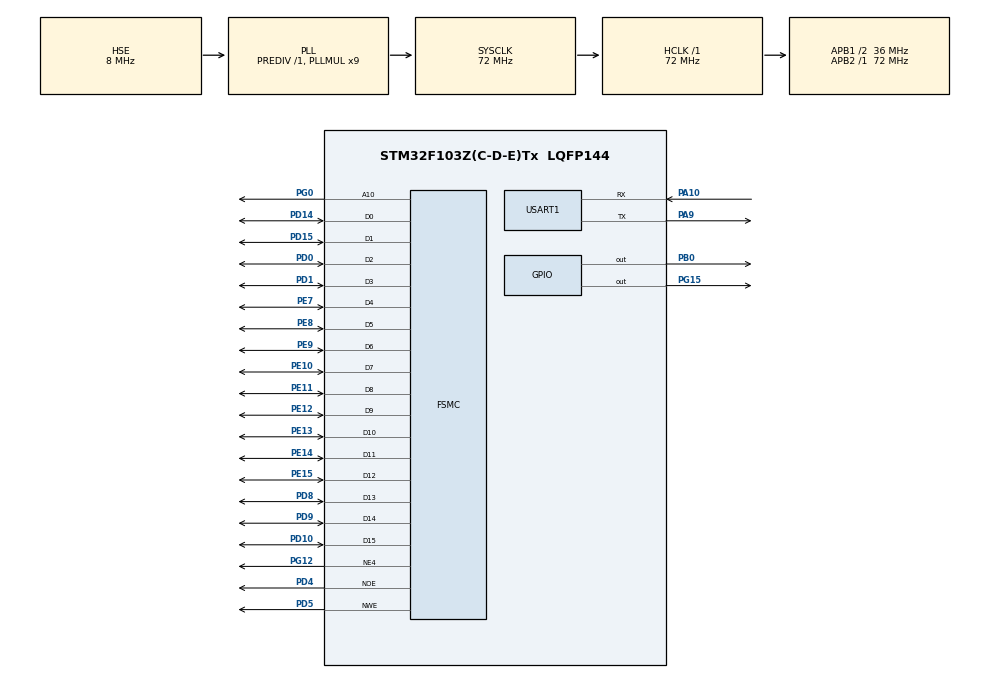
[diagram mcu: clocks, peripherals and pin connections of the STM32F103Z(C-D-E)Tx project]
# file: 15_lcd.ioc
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FSMC.DataSetupTime1=71
Mcu.Family=STM32F1
Mcu.Name=STM32F103Z(C-D-E)Tx
Mcu.Package=LQFP144
NVIC.PriorityGroup=NVIC_PRIORITYGROUP_4
OSC_IN.Mode=HSE-External-Oscillator
OSC_IN.Signal=RCC_OSC_IN
OSC_OUT.Mode=HSE-External-Oscillator
OSC_OUT.Signal=RCC_OSC_OUT
PA10.Mode=Asynchronous
PA10.Signal=USART1_RX
PA13.Mode=Serial_Wire
PA13.Signal=SYS_JTMS-SWDIO
PA14.Mode=Serial_Wire
PA14.Signal=SYS_JTCK-SWCLK
PA9.Mode=Asynchronous
PA9.Signal=USART1_TX
PB0.PinState=GPIO_PIN_RESET
PB0.Signal=GPIO_Output
PC14-OSC32_IN.Mode=LSE-External-Oscillator
PC14-OSC32_IN.Signal=RCC_OSC32_IN
PC15-OSC32_OUT.Mode=LSE-External-Oscillator
PC15-OSC32_OUT.Signal=RCC_OSC32_OUT
PD0.Signal=FSMC_D2_DA2
PD1.Signal=FSMC_D3_DA3
PD10.Signal=FSMC_D15_DA15
PD14.Signal=FSMC_D0_DA0
PD15.Signal=FSMC_D1_DA1
PD4.Signal=FSMC_NOE
PD5.Signal=FSMC_NWE
PD8.Signal=FSMC_D13_DA13
PD9.Signal=FSMC_D14_DA14
PE10.Signal=FSMC_D7_DA7
PE11.Signal=FSMC_D8_DA8
PE12.Signal=FSMC_D9_DA9
PE13.Signal=FSMC_D10_DA10
PE14.Signal=FSMC_D11_DA11
PE15.Signal=FSMC_D12_DA12
PE7.Signal=FSMC_D4_DA4
PE8.Signal=FSMC_D5_DA5
PE9.Signal=FSMC_D6_DA6
PG0.Signal=FSMC_A10
PG12.Mode=NorPsramChipSelect4_1
PG12.Signal=FSMC_NE4
PG15.PinState=GPIO_PIN_SET
PG15.Signal=GPIO_Output
ProjectManager.HeapSize=0x200
ProjectManager.StackSize=0x400
ProjectManager.TargetToolchain=CMake
RCC.AHBFreq_Value=72000000
RCC.APB1CLKDivider=RCC_HCLK_DIV2
RCC.APB1Freq_Value=36000000
RCC.APB1TimFreq_Value=72000000
RCC.APB2Freq_Value=72000000
RCC.APB2TimFreq_Value=72000000
RCC.HCLKFreq_Value=72000000
RCC.PLLMUL=RCC_PLL_MUL9
RCC.PLLSourceVirtual=RCC_PLLSOURCE_HSE
RCC.SYSCLKFreq_VALUE=72000000
RCC.SYSCLKSource=RCC_SYSCLKSOURCE_PLLCLK
RCC.USBFreq_Value=72000000
SH.FSMC_A10.0=FSMC_A10,A10_1
SH.FSMC_D0_DA0.0=FSMC_D0,16b-d1
SH.FSMC_D10_DA10.0=FSMC_D10,16b-d1
SH.FSMC_D11_DA11.0=FSMC_D11,16b-d1
SH.FSMC_D12_DA12.0=FSMC_D12,16b-d1
SH.FSMC_D13_DA13.0=FSMC_D13,16b-d1
SH.FSMC_D14_DA14.0=FSMC_D14,16b-d1
SH.FSMC_D15_DA15.0=FSMC_D15,16b-d1
SH.FSMC_D1_DA1.0=FSMC_D1,16b-d1
SH.FSMC_D2_DA2.0=FSMC_D2,16b-d1
SH.FSMC_D3_DA3.0=FSMC_D3,16b-d1
SH.FSMC_D4_DA4.0=FSMC_D4,16b-d1
SH.FSMC_D5_DA5.0=FSMC_D5,16b-d1
SH.FSMC_D6_DA6.0=FSMC_D6,16b-d1
SH.FSMC_D7_DA7.0=FSMC_D7,16b-d1
SH.FSMC_D8_DA8.0=FSMC_D8,16b-d1
SH.FSMC_D9_DA9.0=FSMC_D9,16b-d1
SH.FSMC_NOE.0=FSMC_NOE,Lcd1
SH.FSMC_NWE.0=FSMC_NWE,Lcd1
USART1.VirtualMode=VM_ASYNC
board=custom

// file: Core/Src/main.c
/* USER CODE BEGIN Header */
/**
  ******************************************************************************
  * @file           : main.c
  * @brief          : Main program body
  ******************************************************************************
  * @attention
  *
  * Copyright (c) 2026 STMicroelectronics.
  * All rights reserved.
  *
  * This software is licensed under terms that can be found in the LICENSE file
  * in the root directory of this software component.
  * If no LICENSE file comes with this software, it is provided AS-IS.
  *
  ******************************************************************************
  */
/* USER CODE END Header */
#include "main.h"
#include "usart.h"
#include "gpio.h"
#include "fsmc.h"

/* USER CODE BEGIN Includes */
#include <stdio.h>

#include "lcd.h"
/* USER CODE END Includes */

void SystemClock_Config(void);

/* USER CODE BEGIN 0 */

// 雷 (32x32 字模, 128 字节)
// ⚠️ 以下数据为占位 (全 0), 需用 PCtoLCD2002 取模软件按下列参数生成后填入:
//    宽 × 高 = 32 × 32, 格式 = C51, 取模 = 阴码 + 纵向 + 列行式 + 字节倒序
const uint8_t font_lei[128] = { 0 };

// 鸣 (32x32, 占位 - 待用取模软件生成)
const uint8_t font_ming[128] = { 0 };

// 北 (32x32, 占位 - 待用取模软件生成)
const uint8_t font_bei[128] = { 0 };

// 落 (32x32, 占位 - 待用取模软件生成)
const uint8_t font_luo[128] = { 0 };

// 师 (32x32, 占位 - 待用取模软件生成)
const uint8_t font_shi[128] = { 0 };

// 门 (32x32, 占位 - 待用取模软件生成)
const uint8_t font_men[128] = { 0 };

/* USER CODE END 0 */

int main(void)
{

  /* MCU Configuration--------------------------------------------------------*/

  /* Reset of all peripherals, Initializes the Flash interface and the Systick. */
  HAL_Init();

  /* Configure the system clock */
  SystemClock_Config();

  /* Initialize all configured peripherals */
  MX_GPIO_Init();
  MX_FSMC_Init();
  MX_USART1_UART_Init();
  /* USER CODE BEGIN 2 */
  LCD_Init();

  uint32_t id = LCD_ReadID();

  printf("LCD ID: 0x%06lx\r\n", id);

  // 欢迎页面 Hello Lcd
  char* vexrune_top = "VEXRUNE.TOP";
  LCD_Write_Fonts(vexrune_top, 2, 12, 0, 0, BLACK);
  LCD_Write_Fonts("LUKE", 3, 4, 0, 40, BLACK);

  // 中文
  LCD_Write_C(font_lei, 4, 12, 80, BLACK);

  /* USER CODE END 2 */

  /* Infinite loop */
  while (1)
  {

  }
}

void SystemClock_Config(void)
{
  RCC_OscInitTypeDef RCC_OscInitStruct = {0};
  RCC_ClkInitTypeDef RCC_ClkInitStruct = {0};

  /** Initializes the RCC Oscillators according to the specified parameters
  * in the RCC_OscInitTypeDef structure.
  */
  RCC_OscInitStruct.OscillatorType = RCC_OSCILLATORTYPE_HSE;
  RCC_OscInitStruct.HSEState = RCC_HSE_ON;
  RCC_OscInitStruct.HSEPredivValue = RCC_HSE_PREDIV_DIV1;
  RCC_OscInitStruct.HSIState = RCC_HSI_ON;
  RCC_OscInitStruct.PLL.PLLState = RCC_PLL_ON;
  RCC_OscInitStruct.PLL.PLLSource = RCC_PLLSOURCE_HSE;
  RCC_OscInitStruct.PLL.PLLMUL = RCC_PLL_MUL9;
  if (HAL_RCC_OscConfig(&RCC_OscInitStruct) != HAL_OK)
  {
    Error_Handler();
  }

  /** Initializes the CPU, AHB and APB buses clocks
  */
  RCC_ClkInitStruct.ClockType = RCC_CLOCKTYPE_HCLK | RCC_CLOCKTYPE_SYSCLK
    | RCC_CLOCKTYPE_PCLK1 | RCC_CLOCKTYPE_PCLK2;
  RCC_ClkInitStruct.SYSCLKSource = RCC_SYSCLKSOURCE_PLLCLK;
  RCC_ClkInitStruct.AHBCLKDivider = RCC_SYSCLK_DIV1;
  RCC_ClkInitStruct.APB1CLKDivider = RCC_HCLK_DIV2;
  RCC_ClkInitStruct.APB2CLKDivider = RCC_HCLK_DIV1;

  if (HAL_RCC_ClockConfig(&RCC_ClkInitStruct, FLASH_LATENCY_2) != HAL_OK)
  {
    Error_Handler();
  }
}

void Error_Handler(void)
{
  __disable_irq();
  while (1)
  {
  }
}
